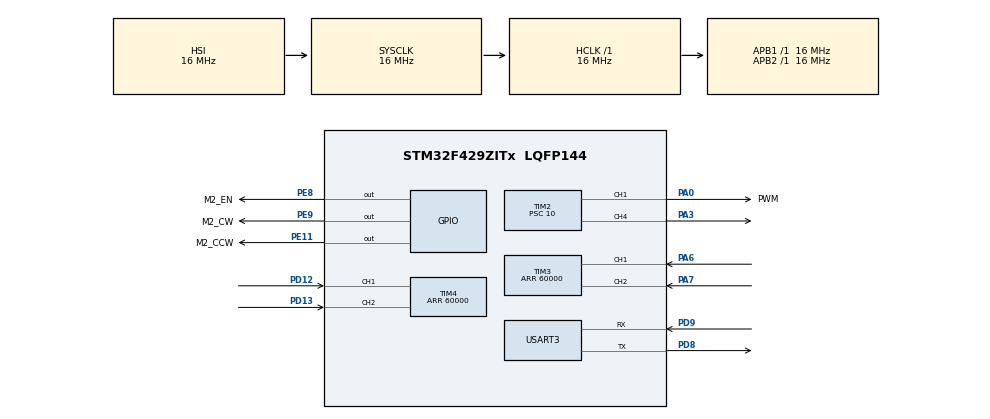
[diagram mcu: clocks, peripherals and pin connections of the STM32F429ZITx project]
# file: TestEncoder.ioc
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Mcu.Family=STM32F4
Mcu.Name=STM32F429ZITx
Mcu.Package=LQFP144
NVIC.PriorityGroup=NVIC_PRIORITYGROUP_4
PA0/WKUP.GPIO_Label=PWM
PA0/WKUP.Signal=S_TIM2_CH1_ETR
PA3.Signal=S_TIM2_CH4
PA6.Signal=S_TIM3_CH1
PA7.Signal=S_TIM3_CH2
PD12.GPIO_PuPd=GPIO_PULLUP
PD12.Signal=S_TIM4_CH1
PD13.GPIO_PuPd=GPIO_PULLUP
PD13.Signal=S_TIM4_CH2
PD8.Mode=Asynchronous
PD8.Signal=USART3_TX
PD9.Mode=Asynchronous
PD9.Signal=USART3_RX
PE11.GPIO_Label=M2_CCW
PE11.Signal=GPIO_Output
PE8.GPIO_Label=M2_EN
PE8.Signal=GPIO_Output
PE9.GPIO_Label=M2_CW
PE9.Signal=GPIO_Output
ProjectManager.HeapSize=0x200
ProjectManager.StackSize=0x400
ProjectManager.TargetToolchain=STM32CubeIDE
RCC.AHBFreq_Value=16000000
RCC.APB1Freq_Value=16000000
RCC.APB2Freq_Value=16000000
RCC.CortexFreq_Value=16000000
RCC.HSE_VALUE=25000000
RCC.HSI_VALUE=16000000
RCC.LSE_VALUE=32768
RCC.SYSCLKFreq_VALUE=16000000
RCC.VCOOutputFreq_Value=192000000
SH.S_TIM2_CH1_ETR.0=TIM2_CH1,PWM Generation1 CH1
SH.S_TIM2_CH4.0=TIM2_CH4,PWM Generation4 CH4
SH.S_TIM3_CH1.0=TIM3_CH1,Encoder_Interface
SH.S_TIM3_CH2.0=TIM3_CH2,Encoder_Interface
SH.S_TIM4_CH1.0=TIM4_CH1,Encoder_Interface
SH.S_TIM4_CH2.0=TIM4_CH2,Encoder_Interface
TIM2.Channel-PWM\ Generation1\ CH1=TIM_CHANNEL_1
TIM2.Channel-PWM\ Generation4\ CH4=TIM_CHANNEL_4
TIM2.Period=1000
TIM2.Prescaler=10
TIM3.EncoderMode=TIM_ENCODERMODE_TI12
TIM3.IC1Polarity=TIM_ICPOLARITY_FALLING
TIM3.Period=60000
TIM4.EncoderMode=TIM_ENCODERMODE_TI12
TIM4.IC1Filter=5
TIM4.IC1Polarity=TIM_ICPOLARITY_FALLING
TIM4.IC2Filter=5
TIM4.IC2Polarity=TIM_ICPOLARITY_FALLING
TIM4.Period=60000
USART3.VirtualMode=VM_ASYNC
board=custom

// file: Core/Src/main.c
/* USER CODE BEGIN Header */
/**
 ******************************************************************************
 * @file           : main.c
 * @brief          : Main program body
 ******************************************************************************
 * @attention
 *
 * Copyright (c) 2023 STMicroelectronics.
 * All rights reserved.
 *
 * This software is licensed under terms that can be found in the LICENSE file
 * in the root directory of this software component.
 * If no LICENSE file comes with this software, it is provided AS-IS.
 *
 ******************************************************************************
 */
/* USER CODE END Header */
#include "main.h"

/* USER CODE BEGIN Includes */
#include "pendulum.h"
#include <math.h>
#include <stdio.h>
/* USER CODE END Includes */

TIM_HandleTypeDef htim2;
TIM_HandleTypeDef htim3;
TIM_HandleTypeDef htim4;

UART_HandleTypeDef huart3;

/* USER CODE BEGIN PV */
uint32_t EncoderValue_Ticks = 0 ;
float counter,count ;
float E_kin,E_pot,E_tar;

char Velocity_str[80];

/* USER CODE END PV */

void SystemClock_Config(void);
static void MX_GPIO_Init(void);
static void MX_TIM2_Init(void);
static void MX_TIM3_Init(void);
static void MX_TIM4_Init(void);
static void MX_USART3_UART_Init(void);

/* USER CODE BEGIN 0 */
void Controller_SysTick(){
	static int n_m,n_p;

	if(n_m >= (M_Ts*1000)){
		// gather state variables
		motor_variables_iter();
		n_m=0;
	}else{
		n_m++;
	}
	if(n_p >= (P_Ts*1000)){
		pendulum_variables_iter();
		sprintf((char*)Velocity_str,"%.2f\n ",pendulum.velocity) ;
		HAL_UART_Transmit(&huart3, Velocity_str, 10, 0xFFFF);

		if(fabs(pendulum.position) < P_SWITCH_ANGLE){
			pendulum_LQR();

			//pendulum_P();
		}else{
			pendulum_swingup();
			//pendulum_disable();
		}
		n_p = 0;

	}else{
		n_p++;
	}
}

/* USER CODE END 0 */

int main(void)
{

  /* MCU Configuration--------------------------------------------------------*/

  /* Reset of all peripherals, Initializes the Flash interface and the Systick. */
  HAL_Init();

  /* Configure the system clock */
  SystemClock_Config();

  /* Initialize all configured peripherals */
  MX_GPIO_Init();
  MX_TIM2_Init();
  MX_TIM3_Init();
  MX_TIM4_Init();
  MX_USART3_UART_Init();
  /* USER CODE BEGIN 2 */

	// init encoders
	HAL_TIM_Encoder_Start(&htim4,TIM_CHANNEL_ALL);
	HAL_TIM_Encoder_Start(&htim3,TIM_CHANNEL_ALL);
	// init PWM
	HAL_TIM_PWM_Start(&htim2,TIM_CHANNEL_1);
	HAL_TIM_PWM_Start(&htim2,TIM_CHANNEL_4);
  /* USER CODE END 2 */

  /* Infinite loop */
	while (1)
	{

	}
}

void SystemClock_Config(void)
{
  RCC_OscInitTypeDef RCC_OscInitStruct = {0};
  RCC_ClkInitTypeDef RCC_ClkInitStruct = {0};

  /** Configure the main internal regulator output voltage
  */
  __HAL_RCC_PWR_CLK_ENABLE();
  __HAL_PWR_VOLTAGESCALING_CONFIG(PWR_REGULATOR_VOLTAGE_SCALE3);

  /** Initializes the RCC Oscillators according to the specified parameters
  * in the RCC_OscInitTypeDef structure.
  */
  RCC_OscInitStruct.OscillatorType = RCC_OSCILLATORTYPE_HSI;
  RCC_OscInitStruct.HSIState = RCC_HSI_ON;
  RCC_OscInitStruct.HSICalibrationValue = RCC_HSICALIBRATION_DEFAULT;
  RCC_OscInitStruct.PLL.PLLState = RCC_PLL_NONE;
  if (HAL_RCC_OscConfig(&RCC_OscInitStruct) != HAL_OK)
  {
    Error_Handler();
  }

  /** Initializes the CPU, AHB and APB buses clocks
  */
  RCC_ClkInitStruct.ClockType = RCC_CLOCKTYPE_HCLK|RCC_CLOCKTYPE_SYSCLK
                              |RCC_CLOCKTYPE_PCLK1|RCC_CLOCKTYPE_PCLK2;
  RCC_ClkInitStruct.SYSCLKSource = RCC_SYSCLKSOURCE_HSI;
  RCC_ClkInitStruct.AHBCLKDivider = RCC_SYSCLK_DIV1;
  RCC_ClkInitStruct.APB1CLKDivider = RCC_HCLK_DIV1;
  RCC_ClkInitStruct.APB2CLKDivider = RCC_HCLK_DIV1;

  if (HAL_RCC_ClockConfig(&RCC_ClkInitStruct, FLASH_LATENCY_0) != HAL_OK)
  {
    Error_Handler();
  }
}

static void MX_TIM2_Init(void)
{

  TIM_MasterConfigTypeDef sMasterConfig = {0};
  TIM_OC_InitTypeDef sConfigOC = {0};

  htim2.Instance = TIM2;
  htim2.Init.Prescaler = 10;
  htim2.Init.CounterMode = TIM_COUNTERMODE_UP;
  htim2.Init.Period = 1000;
  htim2.Init.ClockDivision = TIM_CLOCKDIVISION_DIV1;
  htim2.Init.AutoReloadPreload = TIM_AUTORELOAD_PRELOAD_DISABLE;
  if (HAL_TIM_PWM_Init(&htim2) != HAL_OK)
  {
    Error_Handler();
  }
  sMasterConfig.MasterOutputTrigger = TIM_TRGO_RESET;
  sMasterConfig.MasterSlaveMode = TIM_MASTERSLAVEMODE_DISABLE;
  if (HAL_TIMEx_MasterConfigSynchronization(&htim2, &sMasterConfig) != HAL_OK)
  {
    Error_Handler();
  }
  sConfigOC.OCMode = TIM_OCMODE_PWM1;
  sConfigOC.Pulse = 0;
  sConfigOC.OCPolarity = TIM_OCPOLARITY_HIGH;
  sConfigOC.OCFastMode = TIM_OCFAST_DISABLE;
  if (HAL_TIM_PWM_ConfigChannel(&htim2, &sConfigOC, TIM_CHANNEL_1) != HAL_OK)
  {
    Error_Handler();
  }
  if (HAL_TIM_PWM_ConfigChannel(&htim2, &sConfigOC, TIM_CHANNEL_4) != HAL_OK)
  {
    Error_Handler();
  }
  HAL_TIM_MspPostInit(&htim2);

}

static void MX_TIM3_Init(void)
{

  TIM_Encoder_InitTypeDef sConfig = {0};
  TIM_MasterConfigTypeDef sMasterConfig = {0};

  htim3.Instance = TIM3;
  htim3.Init.Prescaler = 0;
  htim3.Init.CounterMode = TIM_COUNTERMODE_UP;
  htim3.Init.Period = 60000;
  htim3.Init.ClockDivision = TIM_CLOCKDIVISION_DIV1;
  htim3.Init.AutoReloadPreload = TIM_AUTORELOAD_PRELOAD_DISABLE;
  sConfig.EncoderMode = TIM_ENCODERMODE_TI12;
  sConfig.IC1Polarity = TIM_ICPOLARITY_FALLING;
  sConfig.IC1Selection = TIM_ICSELECTION_DIRECTTI;
  sConfig.IC1Prescaler = TIM_ICPSC_DIV1;
  sConfig.IC1Filter = 0;
  sConfig.IC2Polarity = TIM_ICPOLARITY_RISING;
  sConfig.IC2Selection = TIM_ICSELECTION_DIRECTTI;
  sConfig.IC2Prescaler = TIM_ICPSC_DIV1;
  sConfig.IC2Filter = 0;
  if (HAL_TIM_Encoder_Init(&htim3, &sConfig) != HAL_OK)
  {
    Error_Handler();
  }
  sMasterConfig.MasterOutputTrigger = TIM_TRGO_RESET;
  sMasterConfig.MasterSlaveMode = TIM_MASTERSLAVEMODE_DISABLE;
  if (HAL_TIMEx_MasterConfigSynchronization(&htim3, &sMasterConfig) != HAL_OK)
  {
    Error_Handler();
  }

}

static void MX_TIM4_Init(void)
{

  TIM_Encoder_InitTypeDef sConfig = {0};
  TIM_MasterConfigTypeDef sMasterConfig = {0};

  htim4.Instance = TIM4;
  htim4.Init.Prescaler = 0;
  htim4.Init.CounterMode = TIM_COUNTERMODE_UP;
  htim4.Init.Period = 60000;
  htim4.Init.ClockDivision = TIM_CLOCKDIVISION_DIV1;
  htim4.Init.AutoReloadPreload = TIM_AUTORELOAD_PRELOAD_DISABLE;
  sConfig.EncoderMode = TIM_ENCODERMODE_TI12;
  sConfig.IC1Polarity = TIM_ICPOLARITY_FALLING;
  sConfig.IC1Selection = TIM_ICSELECTION_DIRECTTI;
  sConfig.IC1Prescaler = TIM_ICPSC_DIV1;
  sConfig.IC1Filter = 5;
  sConfig.IC2Polarity = TIM_ICPOLARITY_FALLING;
  sConfig.IC2Selection = TIM_ICSELECTION_DIRECTTI;
  sConfig.IC2Prescaler = TIM_ICPSC_DIV1;
  sConfig.IC2Filter = 5;
  if (HAL_TIM_Encoder_Init(&htim4, &sConfig) != HAL_OK)
  {
    Error_Handler();
  }
  sMasterConfig.MasterOutputTrigger = TIM_TRGO_RESET;
  sMasterConfig.MasterSlaveMode = TIM_MASTERSLAVEMODE_DISABLE;
  if (HAL_TIMEx_MasterConfigSynchronization(&htim4, &sMasterConfig) != HAL_OK)
  {
    Error_Handler();
  }

}

static void MX_USART3_UART_Init(void)
{

  huart3.Instance = USART3;
  huart3.Init.BaudRate = 115200;
  huart3.Init.WordLength = UART_WORDLENGTH_8B;
  huart3.Init.StopBits = UART_STOPBITS_1;
  huart3.Init.Parity = UART_PARITY_NONE;
  huart3.Init.Mode = UART_MODE_TX_RX;
  huart3.Init.HwFlowCtl = UART_HWCONTROL_NONE;
  huart3.Init.OverSampling = UART_OVERSAMPLING_16;
  if (HAL_UART_Init(&huart3) != HAL_OK)
  {
    Error_Handler();
  }

}

static void MX_GPIO_Init(void)
{
  GPIO_InitTypeDef GPIO_InitStruct = {0};

  /* GPIO Ports Clock Enable */
  __HAL_RCC_GPIOA_CLK_ENABLE();
  __HAL_RCC_GPIOE_CLK_ENABLE();
  __HAL_RCC_GPIOD_CLK_ENABLE();

  /*Configure GPIO pin Output Level */
  HAL_GPIO_WritePin(GPIOE, M2_EN_Pin|M2_CW_Pin|M2_CCW_Pin, GPIO_PIN_RESET);

  /*Configure GPIO pins : M2_EN_Pin M2_CW_Pin M2_CCW_Pin */
  GPIO_InitStruct.Pin = M2_EN_Pin|M2_CW_Pin|M2_CCW_Pin;
  GPIO_InitStruct.Mode = GPIO_MODE_OUTPUT_PP;
  GPIO_InitStruct.Pull = GPIO_NOPULL;
  GPIO_InitStruct.Speed = GPIO_SPEED_FREQ_LOW;
  HAL_GPIO_Init(GPIOE, &GPIO_InitStruct);

}

void Error_Handler(void)
{
	__disable_irq();
	while (1)
	{
	}
}
